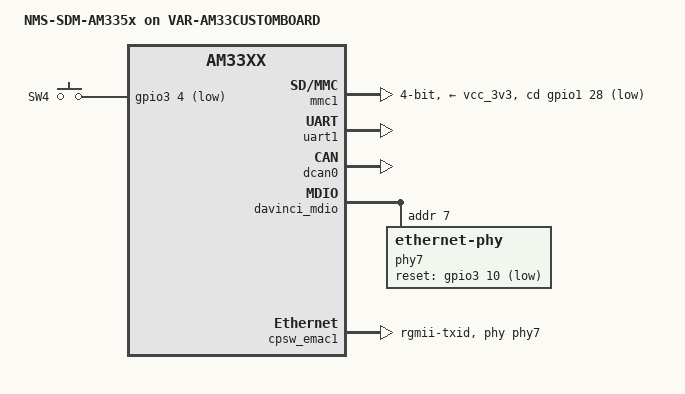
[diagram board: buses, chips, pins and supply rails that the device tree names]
// SPDX-License-Identifier: GPL-2.0-only
/dts-v1/;

#include "am335x-nms-sdm.dtsi"
#include <dt-bindings/input/input.h>

/ {
	model = "NMS-SDM-AM335x on VAR-AM33CUSTOMBOARD";
	compatible = "inmys,nms-sdm-am335x-var-custom", "inmys,nms-sdm-am335x", "ti,am33xx";

	gpio-keys {
		compatible = "gpio-keys";
		pinctrl-names = "default";
		pinctrl-0 = <&sw4_pins>;
		sw4 {
			label = "SW4";
			linux,code = <BTN_0>;
			gpios = <&gpio3 4 GPIO_ACTIVE_LOW>;
			debounce-interval = <20>;
		};
	};
};

&am33xx_pinmux {
	mmc0_pins: pinmux_mmc0_pins {
		pinctrl-single,pins = <
			AM33XX_PADCONF(AM335X_PIN_MMC0_DAT3, PIN_INPUT_PULLUP, MUX_MODE0)	/* DAT3 */
			AM33XX_PADCONF(AM335X_PIN_MMC0_DAT2, PIN_INPUT_PULLUP, MUX_MODE0)	/* DAT2 */
			AM33XX_PADCONF(AM335X_PIN_MMC0_DAT1, PIN_INPUT_PULLUP, MUX_MODE0)	/* DAT1 */
			AM33XX_PADCONF(AM335X_PIN_MMC0_DAT0, PIN_INPUT_PULLUP, MUX_MODE0)	/* DAT0 */
			AM33XX_PADCONF(AM335X_PIN_MMC0_CLK, PIN_INPUT_PULLUP, MUX_MODE0)	/* CLK */
			AM33XX_PADCONF(AM335X_PIN_MMC0_CMD, PIN_INPUT_PULLUP, MUX_MODE0)	/* CMD */
			AM33XX_PADCONF(AM335X_PIN_GPMC_BEN1, PIN_INPUT_PULLUP, MUX_MODE7)	/* GPIO1_28 CD */
		>;
	};

	rgmii2_pins: pinmux_rgmii2_pins {
		pinctrl-single,pins = <
			AM33XX_PADCONF(AM335X_PIN_GPMC_A0, PIN_OUTPUT, MUX_MODE2)	/* GPMC_A0, TX_CTL */
			AM33XX_PADCONF(AM335X_PIN_GPMC_A1, PIN_INPUT_PULLUP, MUX_MODE2)	/* GPMC_A1, RX_CTL */
			AM33XX_PADCONF(AM335X_PIN_GPMC_A2, PIN_OUTPUT, MUX_MODE2)	/* GPMC_A2, TXD3 */
			AM33XX_PADCONF(AM335X_PIN_GPMC_A3, PIN_OUTPUT, MUX_MODE2)	/* GPMC_A3, TXD2 */
			AM33XX_PADCONF(AM335X_PIN_GPMC_A4, PIN_OUTPUT, MUX_MODE2)	/* GPMC_A4, TXD1 */
			AM33XX_PADCONF(AM335X_PIN_GPMC_A5, PIN_OUTPUT, MUX_MODE2)	/* GPMC_A5, TXD0 */
			AM33XX_PADCONF(AM335X_PIN_GPMC_A6, PIN_OUTPUT, MUX_MODE2)	/* GPMC_A6, TX_CLK */
			AM33XX_PADCONF(AM335X_PIN_GPMC_A7, PIN_INPUT_PULLUP, MUX_MODE2)	/* GPMC_A7, RX_CLK */
			AM33XX_PADCONF(AM335X_PIN_GPMC_A8, PIN_INPUT_PULLDOWN, MUX_MODE2)	/* GPMC_A8, RXD3 */
			AM33XX_PADCONF(AM335X_PIN_GPMC_A9, PIN_INPUT_PULLDOWN, MUX_MODE2)	/* GPMC_A9, RXD2 */
			AM33XX_PADCONF(AM335X_PIN_GPMC_A10, PIN_INPUT_PULLDOWN, MUX_MODE2)	/* GPMC_A10, RXD1 */
			AM33XX_PADCONF(AM335X_PIN_GPMC_A11, PIN_INPUT_PULLDOWN, MUX_MODE2)	/* GPMC_A11, RXD0 */
			AM33XX_PADCONF(AM335X_PIN_MII1_RX_CLK, PIN_OUTPUT_PULLUP, MUX_MODE7)	/* GPIO3_10, GETH_EN */
		>;
	};

	sw4_pins: pinmux_sw4_pins {
		pinctrl-single,pins = <
			AM33XX_PADCONF(AM335X_PIN_MII1_RX_DV, PIN_INPUT_PULLUP, MUX_MODE7)	/* MII1_RXDV, GPIO3_4 */
		>;
	};
};

/* SoC MMC0 is named mmc1 in am33xx.dtsi. Carrier sheet H, SD card. */
&mmc1 {
	status = "okay";
	pinctrl-names = "default";
	pinctrl-0 = <&mmc0_pins>;
	vmmc-supply = <&vcc_3v3>;
	bus-width = <4>;
	cd-gpios = <&gpio1 28 GPIO_ACTIVE_LOW>;
	disable-wp;
};

/* Carrier sheet H, UART1-DTE and CAN transceiver. */
&uart1 {
	pinctrl-names = "default", "sleep";
	pinctrl-0 = <&uart1_pins_default>;
	pinctrl-1 = <&uart1_pins_sleep>;
	status = "okay";
};

&dcan0 {
	pinctrl-names = "default";
	pinctrl-0 = <&dcan0_default>;
	status = "okay";
};

/* Carrier sheet G: KSZ9021RN, MDIO address 7; GPIO3_10 also selects RGMII. */
&mac {
	pinctrl-0 = <&cpsw_default &rgmii2_pins>;
	dual_emac = <1>;
};

&davinci_mdio {
	phy7: ethernet-phy@7 {
		reg = <7>;
		reset-gpios = <&gpio3 10 GPIO_ACTIVE_LOW>;
		reset-assert-us = <1000>;
		reset-deassert-us = <10000>;
		rxc-skew-ps = <3000>;
		txc-skew-ps = <3000>;
		rxdv-skew-ps = <0>;
		txen-skew-ps = <0>;
		rxd0-skew-ps = <0>;
		rxd1-skew-ps = <0>;
		rxd2-skew-ps = <0>;
		rxd3-skew-ps = <0>;
		txd0-skew-ps = <0>;
		txd1-skew-ps = <0>;
		txd2-skew-ps = <0>;
		txd3-skew-ps = <0>;
	};
};

&cpsw_emac1 {
	status = "okay";
	phy-handle = <&phy7>;
	phy-mode = "rgmii-txid";
	dual_emac_res_vlan = <2>;
};
